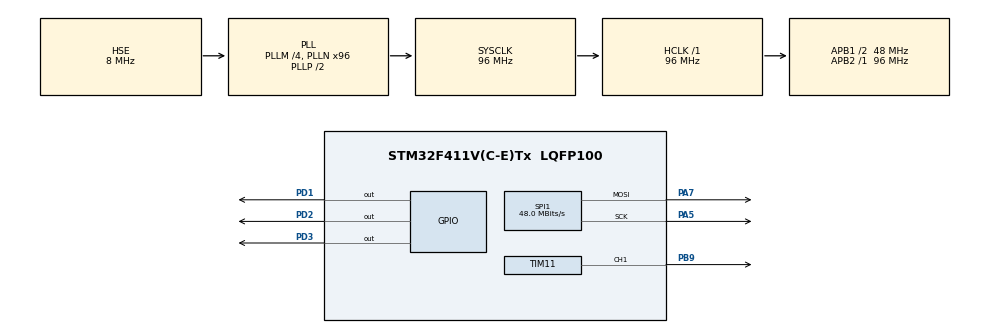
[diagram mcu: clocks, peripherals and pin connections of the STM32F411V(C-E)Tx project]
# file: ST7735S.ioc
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Mcu.Family=STM32F4
Mcu.Name=STM32F411V(C-E)Tx
Mcu.Package=LQFP100
NVIC.PriorityGroup=NVIC_PRIORITYGROUP_4
PA5.Mode=TX_Only_Simplex_Unidirect_Master
PA5.Signal=SPI1_SCK
PA7.Mode=TX_Only_Simplex_Unidirect_Master
PA7.Signal=SPI1_MOSI
PB9.Signal=S_TIM11_CH1
PD1.Signal=GPIO_Output
PD2.Signal=GPIO_Output
PD3.Signal=GPIO_Output
PH0\ -\ OSC_IN.Mode=HSE-External-Oscillator
PH0\ -\ OSC_IN.Signal=RCC_OSC_IN
PH1\ -\ OSC_OUT.Mode=HSE-External-Oscillator
PH1\ -\ OSC_OUT.Signal=RCC_OSC_OUT
ProjectManager.HeapSize=0x200
ProjectManager.StackSize=0x400
ProjectManager.TargetToolchain=Makefile
RCC.48MHZClocksFreq_Value=48000000
RCC.AHBFreq_Value=96000000
RCC.APB1CLKDivider=RCC_HCLK_DIV2
RCC.APB1Freq_Value=48000000
RCC.APB1TimFreq_Value=96000000
RCC.APB2Freq_Value=96000000
RCC.APB2TimFreq_Value=96000000
RCC.CortexFreq_Value=96000000
RCC.HCLKFreq_Value=96000000
RCC.HSE_VALUE=8000000
RCC.HSI_VALUE=16000000
RCC.LSE_VALUE=32768
RCC.PLLM=4
RCC.PLLN=96
RCC.PLLSourceVirtual=RCC_PLLSOURCE_HSE
RCC.SYSCLKFreq_VALUE=96000000
RCC.SYSCLKSource=RCC_SYSCLKSOURCE_PLLCLK
RCC.VCOOutputFreq_Value=192000000
SH.S_TIM11_CH1.0=TIM11_CH1,PWM Generation1 CH1
SPI1.BaudRatePrescaler=SPI_BAUDRATEPRESCALER_2
SPI1.CalculateBaudRate=48.0 MBits/s
SPI1.Direction=SPI_DIRECTION_2LINES
SPI1.Mode=SPI_MODE_MASTER
SPI1.VirtualType=VM_MASTER
TIM11.Channel=TIM_CHANNEL_1
TIM11.Period=10
TIM11.Prescaler=8399
VP_TIM11_VS_ClockSourceINT.Mode=Enable_Timer
board=custom

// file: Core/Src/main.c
/* USER CODE BEGIN Header */
/**
  ******************************************************************************
  * @file           : main.c
  * @brief          : Main program body
  ******************************************************************************
  * @attention
  *
  * <h2><center>&copy; Copyright (c) 2025 STMicroelectronics.
  * All rights reserved.</center></h2>
  *
  * This software component is licensed by ST under BSD 3-Clause license,
  * the "License"; You may not use this file except in compliance with the
  * License. You may obtain a copy of the License at:
  *                        opensource.org/licenses/BSD-3-Clause
  *
  ******************************************************************************
  */
/* USER CODE END Header */
#include "main.h"
#include "spi.h"
#include "tim.h"
#include "gpio.h"

/* USER CODE BEGIN Includes */
#include "stm32f4_io.h"
#include "st7735s.h"
/* USER CODE END Includes */

/* USER CODE BEGIN PV */
static ST7735S_Object_t Display;
/* USER CODE END PV */

void SystemClock_Config(void);

/* USER CODE BEGIN 0 */
void init_display(void)
{
  ST7735S_IO_t io = {
      .Init = STM32F4_IO_SPI_Init,
      .DeInit = STM32F4_IO_SPI_DeInit,
      .WriteReg = STM32F4_IO_SPI_WriteDataReg,
      .SendData = STM32F4_IO_SPI_SendData,
      .Delay = STM32F4_IO_Delay_Func,
  };
  // Регистрация функций ввода-вывода
  ST7735S_RegisterBusIO(&Display, &io);
  // Инициализация дисплея
  ST7735S_Init(&Display, ST7735S_FORMAT_DEFAULT, ST7735S_ORIENTATION_PORTRAIT);
}

/* USER CODE END 0 */

int main(void)
{

  /* MCU Configuration--------------------------------------------------------*/

  /* Reset of all peripherals, Initializes the Flash interface and the Systick. */
  HAL_Init();

  /* Configure the system clock */
  SystemClock_Config();

  /* Initialize all configured peripherals */
  MX_GPIO_Init();
  MX_SPI1_Init();
  MX_TIM11_Init();
  /* USER CODE BEGIN 2 */
  init_display();

  for (int i = 0; i < 25; i++){
    for (int j = 0; j < 25; j++){
      ST7735S_SetPixel(&Display, i, j, 0x00AA);
    }
  }
  /* USER CODE END 2 */

  /* Infinite loop */
  while (1)
  {
  }
}

void SystemClock_Config(void)
{
  RCC_OscInitTypeDef RCC_OscInitStruct = {0};
  RCC_ClkInitTypeDef RCC_ClkInitStruct = {0};

  /** Configure the main internal regulator output voltage
  */
  __HAL_RCC_PWR_CLK_ENABLE();
  __HAL_PWR_VOLTAGESCALING_CONFIG(PWR_REGULATOR_VOLTAGE_SCALE1);
  /** Initializes the RCC Oscillators according to the specified parameters
  * in the RCC_OscInitTypeDef structure.
  */
  RCC_OscInitStruct.OscillatorType = RCC_OSCILLATORTYPE_HSE;
  RCC_OscInitStruct.HSEState = RCC_HSE_ON;
  RCC_OscInitStruct.PLL.PLLState = RCC_PLL_ON;
  RCC_OscInitStruct.PLL.PLLSource = RCC_PLLSOURCE_HSE;
  RCC_OscInitStruct.PLL.PLLM = 4;
  RCC_OscInitStruct.PLL.PLLN = 96;
  RCC_OscInitStruct.PLL.PLLP = RCC_PLLP_DIV2;
  RCC_OscInitStruct.PLL.PLLQ = 4;
  if (HAL_RCC_OscConfig(&RCC_OscInitStruct) != HAL_OK)
  {
    Error_Handler();
  }
  /** Initializes the CPU, AHB and APB buses clocks
  */
  RCC_ClkInitStruct.ClockType = RCC_CLOCKTYPE_HCLK|RCC_CLOCKTYPE_SYSCLK
                              |RCC_CLOCKTYPE_PCLK1|RCC_CLOCKTYPE_PCLK2;
  RCC_ClkInitStruct.SYSCLKSource = RCC_SYSCLKSOURCE_PLLCLK;
  RCC_ClkInitStruct.AHBCLKDivider = RCC_SYSCLK_DIV1;
  RCC_ClkInitStruct.APB1CLKDivider = RCC_HCLK_DIV2;
  RCC_ClkInitStruct.APB2CLKDivider = RCC_HCLK_DIV1;

  if (HAL_RCC_ClockConfig(&RCC_ClkInitStruct, FLASH_LATENCY_3) != HAL_OK)
  {
    Error_Handler();
  }
}

void Error_Handler(void)
{
  __disable_irq();
  while (1)
  {
  }
}

/************************ (C) COPYRIGHT STMicroelectronics *****END OF FILE****/
